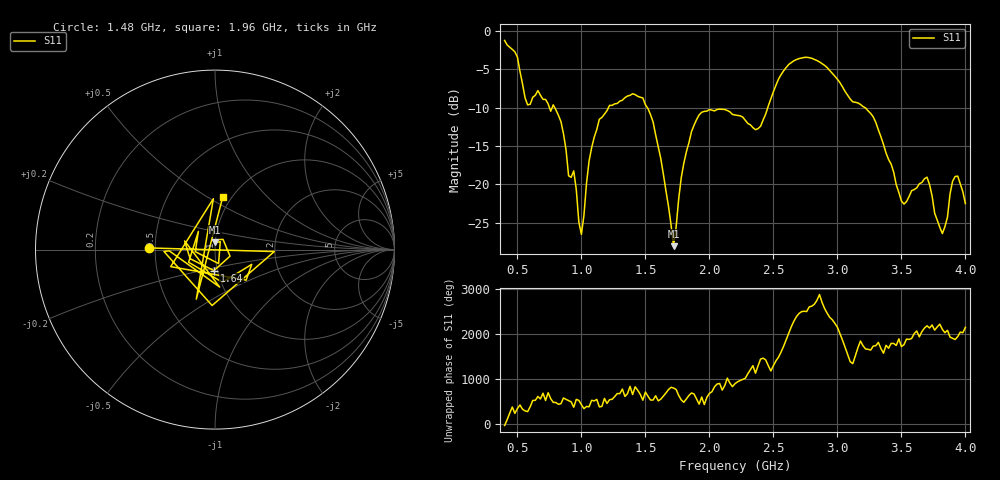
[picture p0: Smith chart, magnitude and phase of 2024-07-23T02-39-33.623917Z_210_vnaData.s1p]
!Created with skrf (http://scikit-rf.org).
# Hz S RI R 50.0
!freq ReS11 ImS11
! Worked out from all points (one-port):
!   181 points, 400 MHz to 4 GHz, reference 50 ohm
!   lowest |S11| = -28.0 dB at 1.72 GHz (marker M1), VSWR 1.08, Z = 50 + j3.97 ohm
!   |S11| at or under -10 dB: 791.4 MHz to 1.211 GHz (420.1 MHz wide, 41.9 % of centre); 1.515 GHz to 2.456 GHz (940.7 MHz wide, 47.4 % of centre); 3.216 GHz to end of sweep (the widest 3 of 4)
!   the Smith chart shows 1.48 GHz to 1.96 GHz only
!   S11 on the Smith chart (normalised r, x): 1.48 GHz: 0.46, +0.01; 1.64 GHz: 0.96, -0.23; 1.96 GHz: 0.91, +0.59
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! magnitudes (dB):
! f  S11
! 400 MHz  -1.3
! 500 MHz  -3.4
! 580 MHz  -9.6
! 660 MHz  -7.8
! 860 MHz  -13.4
! 900 MHz  -18.9
! 940 MHz  -18.2
! 1 GHz  -26.5
! 1.06 GHz  -16.9
! 1.14 GHz  -11.5
! 1.3 GHz  -9.2
! 1.48 GHz  -8.7
! 1.64 GHz  -18.6
! 1.72 GHz  -28.0
! 1.76 GHz  -21.9
! 1.86 GHz  -13.1
! 1.96 GHz  -10.5
! 2.2 GHz  -11.0
! 2.38 GHz  -12.7
! 2.66 GHz  -3.9
! 3.1 GHz  -8.9
! 3.28 GHz  -11.2
! 3.5 GHz  -22.1
! 3.56 GHz  -21.6
! 3.7 GHz  -19.1
! 3.82 GHz  -26.4
! 3.92 GHz  -19.0
! 4 GHz  -22.5
